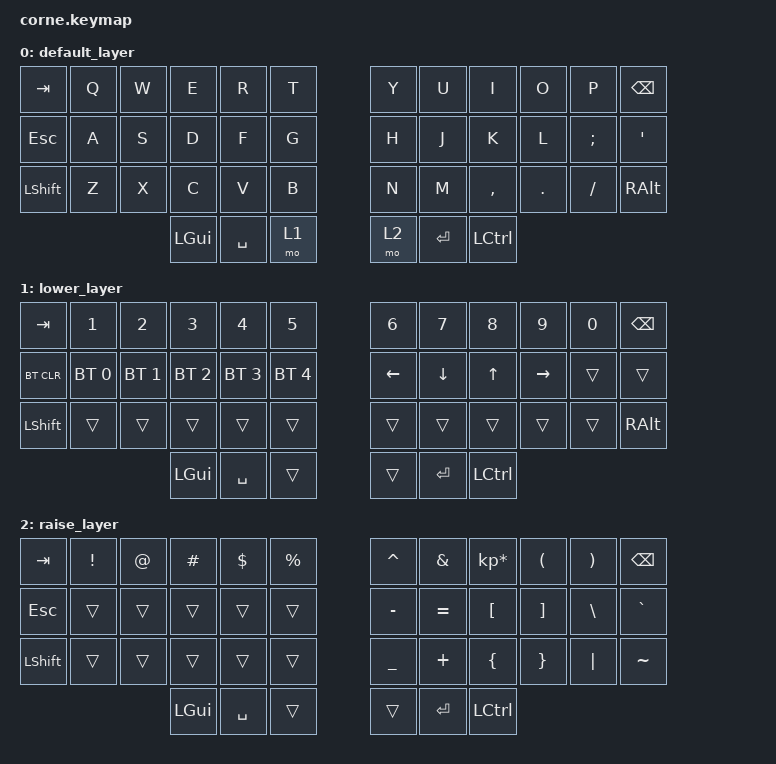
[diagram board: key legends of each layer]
/*
 * Copyright (c) 2020 The ZMK Contributors
 *
 * SPDX-License-Identifier: MIT
 */

#include <behaviors.dtsi>
#include <dt-bindings/zmk/keys.h>
#include <dt-bindings/zmk/bt.h>

/ {
        keymap {
                compatible = "zmk,keymap";

                default_layer {
                        bindings = <
// ╭─────────────┬─────────────┬─────────────┬─────────────┬─────────────┬─────────────╮   ╭─────────────┬─────────────┬─────────────┬─────────────┬─────────────┬─────────────╮
     &kp TAB       &kp Q         &kp W         &kp E         &kp R         &kp T             &kp Y         &kp U         &kp I         &kp O         &kp P         &kp BSPC
// ├─────────────┼─────────────┼─────────────┼─────────────┼─────────────┼─────────────┤   ├─────────────┼─────────────┼─────────────┼─────────────┼─────────────┼─────────────┤
     &kp ESC       &kp A         &kp S         &kp D         &kp F         &kp G             &kp H         &kp J         &kp K         &kp L         &kp SEMI      &kp SQT
// ├─────────────┼─────────────┼─────────────┼─────────────┼─────────────┼─────────────┤   ├─────────────┼─────────────┼─────────────┼─────────────┼─────────────┼─────────────┤
     &kp LSHFT     &kp Z         &kp X         &kp C         &kp V         &kp B             &kp N         &kp M         &kp COMMA     &kp DOT       &kp FSLH      &kp RALT
// ╰─────────────┴─────────────┴─────────────┼─────────────┼─────────────┼─────────────┤   ├─────────────┼─────────────┼─────────────┼─────────────┴─────────────┴─────────────╯
                                               &kp LGUI      &kp SPACE     &mo 1             &mo 2         &kp RET       &kp LCTRL
//                                           ╰─────────────┴─────────────┴─────────────╯   ╰─────────────┴─────────────┴─────────────╯
                        >;
                };
                lower_layer {
                        bindings = <
// ╭─────────────┬─────────────┬─────────────┬─────────────┬─────────────┬─────────────╮   ╭─────────────┬─────────────┬─────────────┬─────────────┬─────────────┬─────────────╮
     &kp TAB       &kp N1        &kp N2        &kp N3        &kp N4        &kp N5            &kp N6        &kp N7        &kp N8        &kp N9        &kp N0        &kp BSPC
// ├─────────────┼─────────────┼─────────────┼─────────────┼─────────────┼─────────────┤   ├─────────────┼─────────────┼─────────────┼─────────────┼─────────────┼─────────────┤
     &bt BT_CLR    &bt BT_SEL 0  &bt BT_SEL 1  &bt BT_SEL 2  &bt BT_SEL 3  &bt BT_SEL 4      &kp LEFT      &kp DOWN      &kp UP        &kp RIGHT     &trans        &trans
// ├─────────────┼─────────────┼─────────────┼─────────────┼─────────────┼─────────────┤   ├─────────────┼─────────────┼─────────────┼─────────────┼─────────────┼─────────────┤
     &kp LSHFT     &trans        &trans        &trans        &trans        &trans            &trans        &trans        &trans        &trans        &trans        &kp RALT
// ╰─────────────┴─────────────┴─────────────┼─────────────┼─────────────┼─────────────┤   ├─────────────┼─────────────┼─────────────┼─────────────┴─────────────┴─────────────╯
                                               &kp LGUI      &kp SPACE     &trans            &trans        &kp RET       &kp LCTRL
//                                           ╰─────────────┴─────────────┴─────────────╯   ╰─────────────┴─────────────┴─────────────╯
                        >;
                };

                raise_layer {
                        bindings = <
// ╭─────────────┬─────────────┬─────────────┬─────────────┬─────────────┬─────────────╮   ╭─────────────┬─────────────┬─────────────┬─────────────┬─────────────┬─────────────╮
     &kp TAB       &kp EXCL      &kp AT        &kp HASH      &kp DLLR      &kp PRCNT         &kp CARET     &kp AMPS    &kp KP_MULTIPLY &kp LPAR      &kp RPAR      &kp BSPC
// ├─────────────┼─────────────┼─────────────┼─────────────┼─────────────┼─────────────┤   ├─────────────┼─────────────┼─────────────┼─────────────┼─────────────┼─────────────┤
     &kp ESC       &trans        &trans        &trans        &trans        &trans            &kp MINUS     &kp EQUAL     &kp LBKT      &kp RBKT      &kp BSLH      &kp GRAVE
// ├─────────────┼─────────────┼─────────────┼─────────────┼─────────────┼─────────────┤   ├─────────────┼─────────────┼─────────────┼─────────────┼─────────────┼─────────────┤
     &kp LSHFT     &trans        &trans        &trans        &trans        &trans            &kp UNDER     &kp PLUS      &kp LBRC      &kp RBRC      &kp PIPE      &kp TILDE
// ╰─────────────┴─────────────┴─────────────┼─────────────┼─────────────┼─────────────┤   ├─────────────┼─────────────┼─────────────┼─────────────┴─────────────┴─────────────╯
                                               &kp LGUI      &kp SPACE     &trans            &trans        &kp RET       &kp LCTRL
//                                           ╰─────────────┴─────────────┴─────────────╯   ╰─────────────┴─────────────┴─────────────╯
                        >;
                };
        };
};
